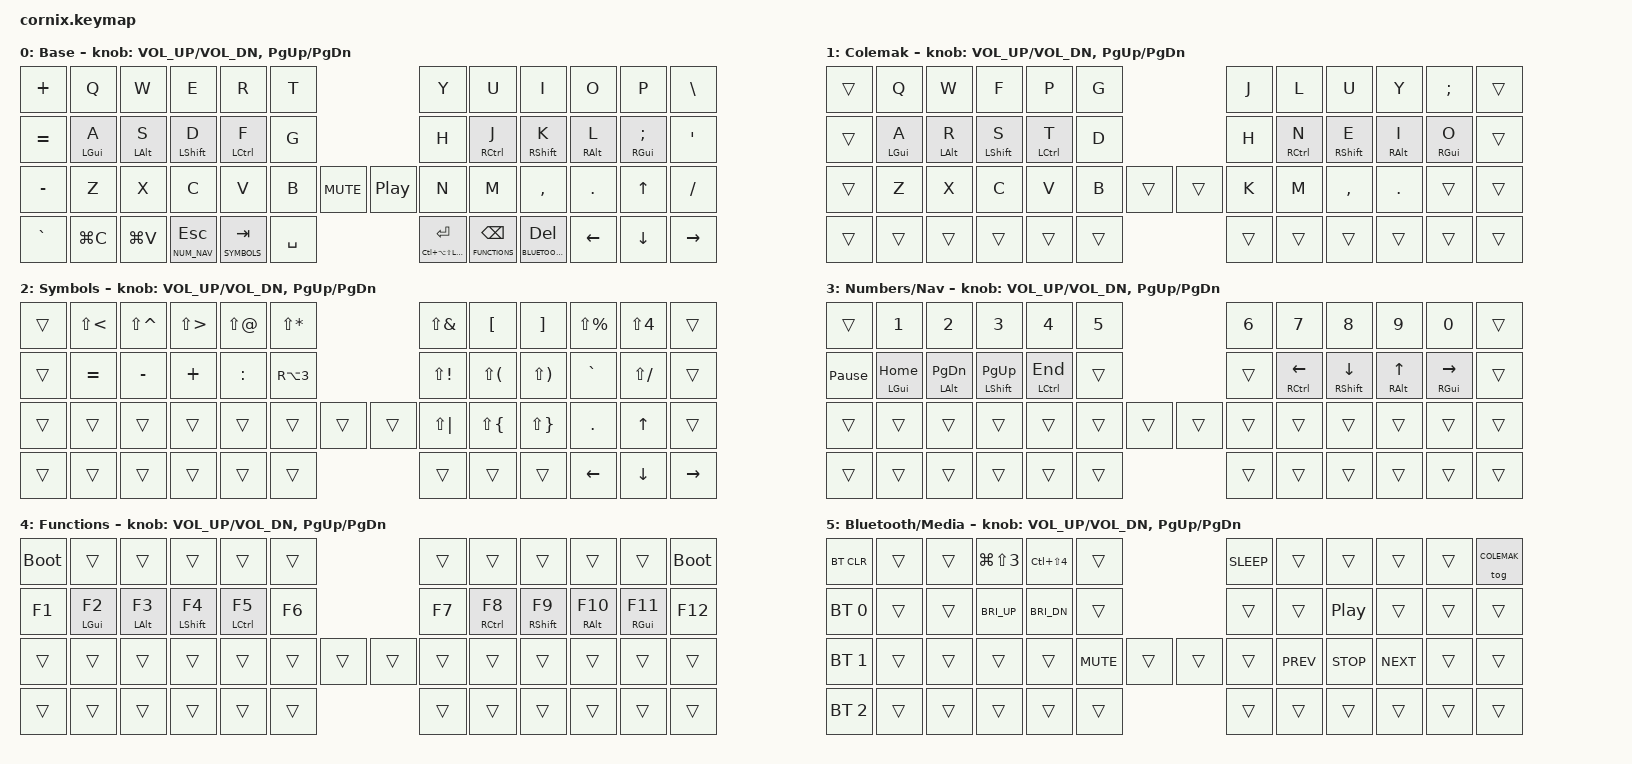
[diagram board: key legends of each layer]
/*
 * Copyright (c) 2020 The ZMK Contributors
 *
 * SPDX-License-Identifier: MIT
 */

#define ZMK_POINTING_DEFAULT_SCRL_VAL 15

#include <behaviors.dtsi>
#include <dt-bindings/zmk/bt.h>
#include <dt-bindings/zmk/keys.h>

#define HM_TAPPING_TERM 280
#define HM_QUICK_TAP 175
#define HM_PRIOR_IDLE 150
#define BASE 0
#define COLEMAK 1
#define SYMBOLS 2
#define NUM_NAV 3
#define FUNCTIONS 4
#define BLUETOOTH_MEDIA 5
#define KEYS_L 0 1 2 3 4 5 12 13 14 15 16 17 24 25 26 27 28 29 30 38 39 40
#define KEYS_R 6 7 8 9 10 11 18 19 20 21 22 23 31 32 33 34 35 36 37 47 48 49
#define THUMBS 41 42 43 44 45 46

/ {
    behaviors {
        hm_l: homerow_mods_left {
            compatible = "zmk,behavior-hold-tap";
            #binding-cells = <2>;
            bindings = <&kp>, <&kp>;

            flavor = "balanced";
            tapping-term-ms = <HM_TAPPING_TERM>;
            quick-tap-ms = <HM_QUICK_TAP>;
            require-prior-idle-ms = <HM_PRIOR_IDLE>;
            hold-trigger-key-positions = <KEYS_R THUMBS>;
            hold-trigger-on-release;
        };

        hm_r: homerow_mods_right {
            compatible = "zmk,behavior-hold-tap";
            #binding-cells = <2>;
            bindings = <&kp>, <&kp>;

            flavor = "balanced";
            tapping-term-ms = <HM_TAPPING_TERM>;
            quick-tap-ms = <HM_QUICK_TAP>;
            require-prior-idle-ms = <HM_PRIOR_IDLE>;
            hold-trigger-key-positions = <KEYS_L THUMBS>;
            hold-trigger-on-release;
        };

        /* Tap Enter, hold true Hyper (Ctrl+Alt+Shift+Gui). */

        hyper_enter: hyper_enter {
            compatible = "zmk,behavior-hold-tap";
            #binding-cells = <2>;
            bindings = <&kp>, <&kp>;

            flavor = "tap-preferred";
            tapping-term-ms = <150>;
            quick-tap-ms = <200>;
            require-prior-idle-ms = <HM_PRIOR_IDLE>;
        };

        /*
         * Layer-tap that also repeats on tap-then-hold. A fresh hold activates
         * the layer; tapping then holding within quick-tap-ms re-sends the tap
         * keycode held down so the host auto-repeats it (e.g. Backspace).
         * retro-tap emits the tap keycode when the key is held and released
         * without pressing anything else, so a slightly-too-long press of the
         * backspace/delete thumb still deletes.
         */

        repeat_lt: repeat_layer_tap {
            compatible = "zmk,behavior-hold-tap";
            #binding-cells = <2>;
            bindings = <&mo>, <&kp>;

            flavor = "tap-preferred";
            tapping-term-ms = <200>;
            quick-tap-ms = <200>;
            retro-tap;
        };
    };

    combos {
        compatible = "zmk,combos";

        /* Functions + top-left/top-right corners together resets the
         * central device (the dongle) into bootloader mode, since combo
         * reset bindings always target the split-central side. The direct
         * &bootloader keys at these same positions only reset whichever
         * half's physical key was pressed. */
        combo_dongle_bootloader {
            timeout-ms = <50>;
            key-positions = <0 11>;
            bindings = <&bootloader>;
            layers = <FUNCTIONS>;
        };
    };

    keymap {
        compatible = "zmk,keymap";

        base_layer {
            display-name = "Base";
            bindings = <
&kp PLUS   &kp Q             &kp W             &kp E               &kp R            &kp T                            &kp Y                                &kp U                      &kp I                           &kp O           &kp P            &kp BSLH
&kp EQUAL  &hm_l LEFT_GUI A  &hm_l LEFT_ALT S  &hm_l LEFT_SHIFT D  &hm_l LCTRL F    &kp G                            &kp H                                &hm_r RCTRL J              &hm_r RSHIFT K                  &hm_r RALT L    &hm_r RGUI SEMI  &kp SINGLE_QUOTE
&kp MINUS  &kp Z             &kp X             &kp C               &kp V            &kp B      &kp C_MUTE  &kp C_PP  &kp N                                &kp M                      &kp COMMA                       &kp DOT         &kp UP_ARROW     &kp SLASH
&kp GRAVE  &kp LG(C)         &kp LG(V)         &lt NUM_NAV ESC     &lt SYMBOLS TAB  &kp SPACE                        &hyper_enter LC(LA(LS(LGUI))) ENTER  &repeat_lt FUNCTIONS BSPC  &repeat_lt BLUETOOTH_MEDIA DEL  &kp LEFT_ARROW  &kp DOWN_ARROW   &kp RIGHT
            >;

            sensor-bindings = <&inc_dec_kp C_VOL_UP C_VOL_DN &inc_dec_kp PG_UP PG_DN>;
        };

        colemak_layer {
            display-name = "Colemak";

            /*
             * Colemak-DH alpha overlay (layer 1, right above base). Only the
             * letter keys are redefined; every thumb and outer key is &trans
             * so it falls through to the base layer. Because this layer sits
             * BELOW the functional layers, momentarily holding a thumb for
             * Symbols/Num-Nav/Functions/BT activates a higher layer that wins,
             * so those layers work identically in Colemak mode.
             */

            bindings = <
&trans  &kp Q             &kp W             &kp F               &kp P          &kp G                   &kp J   &kp L          &kp U           &kp Y         &kp SEMI      &trans
&trans  &hm_l LEFT_GUI A  &hm_l LEFT_ALT R  &hm_l LEFT_SHIFT S  &hm_l LCTRL T  &kp D                   &kp H   &hm_r RCTRL N  &hm_r RSHIFT E  &hm_r RALT I  &hm_r RGUI O  &trans
&trans  &kp Z             &kp X             &kp C               &kp V          &kp B   &trans  &trans  &kp K   &kp M          &kp COMMA       &kp DOT       &trans        &trans
&trans  &trans            &trans            &trans              &trans         &trans                  &trans  &trans         &trans          &trans        &trans        &trans
            >;

            sensor-bindings = <&inc_dec_kp C_VOL_UP C_VOL_DN &inc_dec_kp PG_UP PG_DN>;
        };

        symbols_layer {
            display-name = "Symbols";

            /* The dropped outer punctuation (= - / colon # ISO-hash) lives here. */

            bindings = <
&trans  &kp LS(LT)  &kp LS(CARET)  &kp LS(GT)  &kp LS(AT)  &kp LS(STAR)                  &kp LS(AMPS)  &kp LBKT      &kp RBKT      &kp LS(PRCNT)   &kp LS(N4)      &trans
&trans  &kp EQUAL   &kp MINUS      &kp PLUS    &kp COLON   &kp RA(N3)                    &kp LS(EXCL)  &kp LS(LPAR)  &kp LS(RPAR)  &kp GRAVE       &kp LS(SLASH)   &trans
&trans  &trans      &trans         &trans      &trans      &trans        &trans  &trans  &kp LS(PIPE)  &kp LS(LBRC)  &kp LS(RBRC)  &kp DOT         &kp UP_ARROW    &trans
&trans  &trans      &trans         &trans      &trans      &trans                        &trans        &trans        &trans        &kp LEFT_ARROW  &kp DOWN_ARROW  &kp RIGHT
            >;

            sensor-bindings = <&inc_dec_kp C_VOL_UP C_VOL_DN &inc_dec_kp PG_UP PG_DN>;
        };

        numbers_navigation_layer {
            display-name = "Numbers/Nav";
            bindings = <
&trans           &kp N1               &kp N2                    &kp N3                  &kp N4           &kp N5                  &kp N6  &kp N7            &kp N8             &kp N9         &kp N0            &trans
&kp PAUSE_BREAK  &hm_l LEFT_GUI HOME  &hm_l LEFT_ALT PAGE_DOWN  &hm_l LEFT_SHIFT PG_UP  &hm_l LCTRL END  &trans                  &trans  &hm_r RCTRL LEFT  &hm_r RSHIFT DOWN  &hm_r RALT UP  &hm_r RGUI RIGHT  &trans
&trans           &trans               &trans                    &trans                  &trans           &trans  &trans  &trans  &trans  &trans            &trans             &trans         &trans            &trans
&trans           &trans               &trans                    &trans                  &trans           &trans                  &trans  &trans            &trans             &trans         &trans            &trans
            >;

            sensor-bindings = <&inc_dec_kp C_VOL_UP C_VOL_DN &inc_dec_kp PG_UP PG_DN>;
        };

        functions_layer {
            display-name = "Functions";

            /* Vial dynamic record/play keys have no ZMK runtime equivalent, so they are none. */

            bindings = <
&bootloader  &trans         &trans         &trans          &trans          &trans                  &trans  &trans          &trans          &trans          &trans          &bootloader
&kp F1       &hm_l LGUI F2  &hm_l LALT F3  &hm_l LSHFT F4  &hm_l LCTRL F5  &kp F6                  &kp F7  &hm_r RCTRL F8  &hm_r RSHFT F9  &hm_r RALT F10  &hm_r RGUI F11  &kp F12
&trans       &trans         &trans         &trans          &trans          &trans  &trans  &trans  &trans  &trans          &trans          &trans          &trans          &trans
&trans       &trans         &trans         &trans          &trans          &trans                  &trans  &trans          &trans          &trans          &trans          &trans
            >;

            sensor-bindings = <&inc_dec_kp C_VOL_UP C_VOL_DN &inc_dec_kp PG_UP PG_DN>;
        };

        bluetooth_media_layer {
            display-name = "Bluetooth/Media";
            bindings = <
&bt BT_CLR    &trans  &trans  &kp LG(LS(NUMBER_3))  &kp LC(LS(NUMBER_4))  &trans                      &kp K_SLEEP  &trans      &trans      &trans      &trans  &tog COLEMAK
&bt BT_SEL 0  &trans  &trans  &kp C_BRI_UP          &kp C_BRI_DN          &trans                      &trans       &trans      &kp C_PP    &trans      &trans  &trans
&bt BT_SEL 1  &trans  &trans  &trans                &trans                &kp C_MUTE  &trans  &trans  &trans       &kp C_PREV  &kp C_STOP  &kp C_NEXT  &trans  &trans
&bt BT_SEL 2  &trans  &trans  &trans                &trans                &trans                      &trans       &trans      &trans      &trans      &trans  &trans
            >;

            sensor-bindings = <&inc_dec_kp C_VOL_UP C_VOL_DN &inc_dec_kp PG_UP PG_DN>;
        };
    };
};
